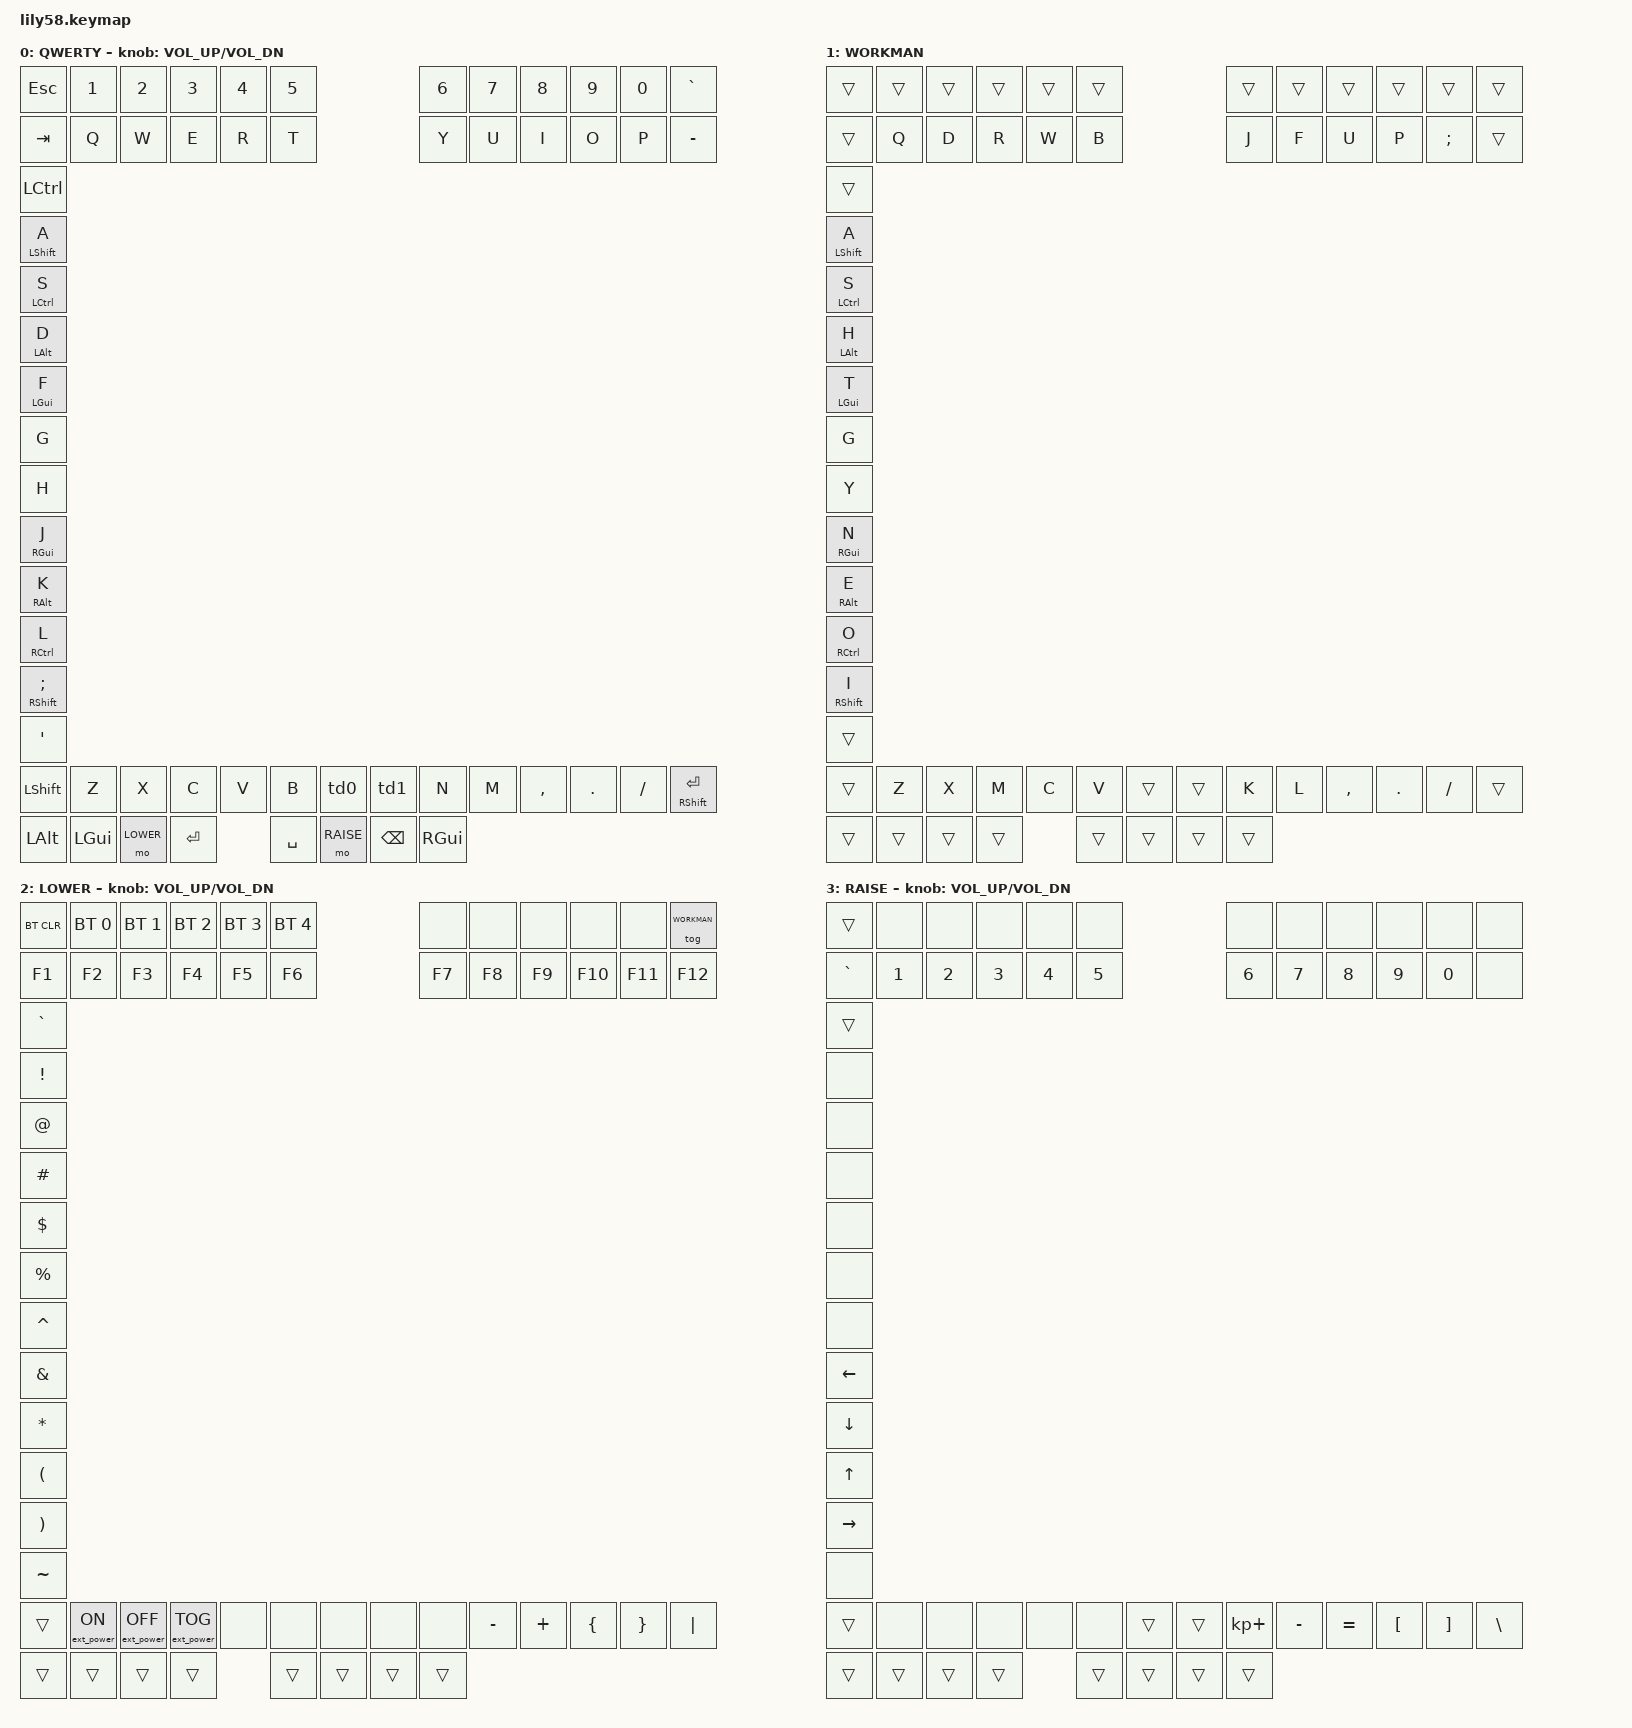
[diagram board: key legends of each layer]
/*
 * Copyright (c) 2020 The ZMK Contributors
 *
 * SPDX-License-Identifier: MIT
 */

#include <behaviors.dtsi>
#include <dt-bindings/zmk/keys.h>
#include <dt-bindings/zmk/bt.h>
#include <dt-bindings/zmk/ext_power.h>

#define ZMK_POINTING_DEFAULT_MOVE_VAL 1500  // default: 600
#define ZMK_POINTING_DEFAULT_SCRL_VAL 20    // default: 10
#include <dt-bindings/zmk/pointing.h>

// WORKMAN must sit below LOWER/RAISE so those still win while it's toggled on
#define QWERTY 0
#define WORKMAN 1
#define LOWER 2
#define RAISE 3

/ {
    behaviors {
        mt: mod_tap {
            compatible = "zmk,behavior-hold-tap";
            #binding-cells = <2>;
            flavor = "balanced";
            tapping-term-ms = <280>;
            require-prior-idle-ms = <150>;
            quick-tap-ms = <175>;
            bindings = <&kp>, <&kp>;
            display-name = "Mod-Tap";
        };

        td0: tap_dance_0 {
            compatible = "zmk,behavior-tap-dance";
            #binding-cells = <0>;
            tapping-term-ms = <200>;
            bindings = <&kp LPAR>, <&kp LBKT>, <&kp LBRC>, <&kp GT>;
        };

        td1: tap_dance_1 {
            compatible = "zmk,behavior-tap-dance";
            #binding-cells = <0>;
            tapping-term-ms = <200>;
            bindings = <&kp RPAR>, <&kp RBKT>, <&kp RBRC>, <&kp LT>;
        };
    };
    
    keymap {
        compatible = "zmk,keymap";

        default_layer {
            display-name = "QWERTY";
// --------------------------------------------------------------------------------------------------------------
// |  ESC  |  1  |  2  |  3   |  4   |  5   |                   |  6   |  7    |  8    |  9   |   0   |   `     |
// |  TAB  |  Q  |  W  |  E   |  R   |  T   |                   |  Y   |  U    |  I    |  O   |   P   |   -     |
// |  CTRL |  SHIFT/A  |  CTRL/S  |  ALTD   |  GUI/F   |  G   |                   |  H  | GUI/J | ALT/K |CTRL/L| SHIFT / ;   |   '   |
// | SHIFT |  Z  |  X  |  C   |  V   |  B   | "([{<" |  | ">}])"|  N   |  M    |  ,    |  .   |   /   | SFT/RET |
//                     | ALT  | GUI  | LOWER|  ENTER |  | SPACE | RAISE| BSPC  | GUI   |
            bindings = <
                &kp ESC   &kp N1 &kp N2 &kp N3   &kp N4   &kp N5                     &kp N6 &kp N7   &kp N8    &kp N9  &kp N0   &kp GRAVE
                &kp TAB   &kp Q  &kp W  &kp E    &kp R    &kp T                      &kp Y  &kp U    &kp I     &kp O   &kp P    &kp MINUS

                &kp LCTRL
                &mt LSHIFT A
                &mt LCTRL S
                &mt LALT D 
                &mt LGUI F
                &kp G
                
                &kp H  
                &mt RGUI J  
                &mt RALT K  
                &mt RCTRL L
                &mt RSHIFT SEMI 
                &kp SQT

                &kp LSHFT &kp Z  &kp X  &kp C    &kp V    &kp B  &td0     &td1       &kp N  &kp M    &kp COMMA &kp DOT &kp FSLH &mt RSHFT RET
                &kp LALT &kp LGUI &mo LOWER  &kp RET  &kp SPACE  &mo RAISE  &kp BSPC &kp RGUI
            >;

            sensor-bindings = <&inc_dec_kp C_VOL_UP C_VOL_DN>;
        };

        workman_layer {
            display-name = "WORKMAN";
// Toggled with LOWER + top-right key. Only the letters differ from QWERTY; same home-row mods.
// ------------------------------------------------------------------------------------------------------------
// |       |     |     |      |      |      |                   |      |       |       |      |       |       |
// |       |  Q  |  D  |  R   |  W   |  B   |                   |  J   |  F    |  U    |  P   |   ;   |       |
// |       |SFT/A|CTL/S| ALT/H| GUI/T|  G   |                   |  Y   | GUI/N | ALT/E |CTL/O | SFT/I |       |
// |       |  Z  |  X  |  M   |  C   |  V   |        |  |       |  K   |  L    |  ,    |  .   |   /   |       |
//                     |      |      |      |        |  |       |      |       |       |
            bindings = <
&trans  &trans        &trans       &trans     &trans     &trans                    &trans  &trans     &trans     &trans      &trans        &trans
&trans  &kp Q         &kp D        &kp R      &kp W      &kp B                     &kp J   &kp F      &kp U      &kp P       &kp SEMI      &trans
&trans  &mt LSHIFT A  &mt LCTRL S  &mt LALT H &mt LGUI T &kp G                     &kp Y   &mt RGUI N &mt RALT E &mt RCTRL O &mt RSHIFT I  &trans
&trans  &kp Z         &kp X        &kp M      &kp C      &kp V   &trans   &trans   &kp K   &kp L      &kp COMMA  &kp DOT     &kp FSLH      &trans
                                   &trans     &trans     &trans  &trans   &trans   &trans  &trans     &trans
            >;
        };

        lower_layer {
            display-name = "LOWER";
// ------------------------------------------------------------------------------------------------------------
// | BTCLR | BT1 | BT2 |  BT3 |  BT4 |  BT5 |                   |      |       |       |      |       |WORKMAN|
// |  F1   |  F2 |  F3 |  F4  |  F5  |  F6  |                   |  F7  |  F8   |  F9   |  F10 |  F11  |  F12  |
// |   `   |  !  |  @  |  #   |  $   |  %   |                   |  ^   |  &    |  *    |  (   |   )   |   ~   |
// |       | EPON|EPOFF|EPTOG |      |      |        |  |       |      |  _    |  +    |  {   |   }   |  "|"  |
//                     |      |      |      |        |  |       |      |       |       |
            bindings = <
&bt BT_CLR &bt BT_SEL 0     &bt BT_SEL 1      &bt BT_SEL 2      &bt BT_SEL 3 &bt BT_SEL 4                 &none     &none     &none     &none     &none     &tog WORKMAN
&kp F1     &kp F2           &kp F3            &kp F4            &kp F5       &kp F6                       &kp F7    &kp F8    &kp F9    &kp F10   &kp F11   &kp F12
&kp GRAVE  &kp EXCL         &kp AT            &kp HASH          &kp DOLLAR   &kp PRCNT                    &kp CARET &kp AMPS  &kp ASTRK &kp LPAR  &kp RPAR  &kp TILDE
&trans     &ext_power EP_ON &ext_power EP_OFF &ext_power EP_TOG &none        &none     &none    &none     &none     &kp MINUS &kp PLUS  &kp LBRC  &kp RBRC  &kp PIPE
                                              &trans            &trans       &trans    &trans   &trans    &trans    &trans    &trans
            >;

            sensor-bindings = <&inc_dec_kp C_VOL_UP C_VOL_DN>;
        };

        raise_layer {
            display-name = "RAISE";
// ------------------------------------------------------------------------------------------------------------
// |       |     |     |      |      |      |                   |      |       |       |      |       |       |
// |   `   |  1  |  2  |  3   |  4   |  5   |                   |  6   |   7   |   8   |  9   |   0   |       |
// |       |     |     |      |      |      |                   |      |   <-  |   v   |  ^   |  ->   |       |
// |       |     |     |      |      |      |        |  |       |  +   |   -   |   =   |  [   |   ]   |   \   |
//                     |      |      |      |        |  |       |      |       |       |
            bindings = <
&trans     &none  &none  &none   &none   &none                        &none       &none     &none     &none    &none     &none
&kp GRAVE  &kp N1 &kp N2 &kp N3  &kp N4  &kp N5                       &kp N6      &kp N7    &kp N8    &kp N9   &kp N0    &none
&trans     &none  &none  &none   &none   &none                        &none       &kp LEFT  &kp DOWN  &kp UP   &kp RIGHT &none
&trans     &none  &none  &none   &none   &none     &trans   &trans    &kp KP_PLUS &kp MINUS &kp EQUAL &kp LBKT &kp RBKT  &kp BSLH
                         &trans  &trans  &trans    &trans   &trans    &trans      &trans    &trans
            >;

            sensor-bindings = <&inc_dec_kp C_VOL_UP C_VOL_DN>;
        };
        extra_1 {
            status = "reserved";
        };

        extra_2 {
            status = "reserved";
        };

        extra_3 {
            status = "reserved";
        };
    };
};
